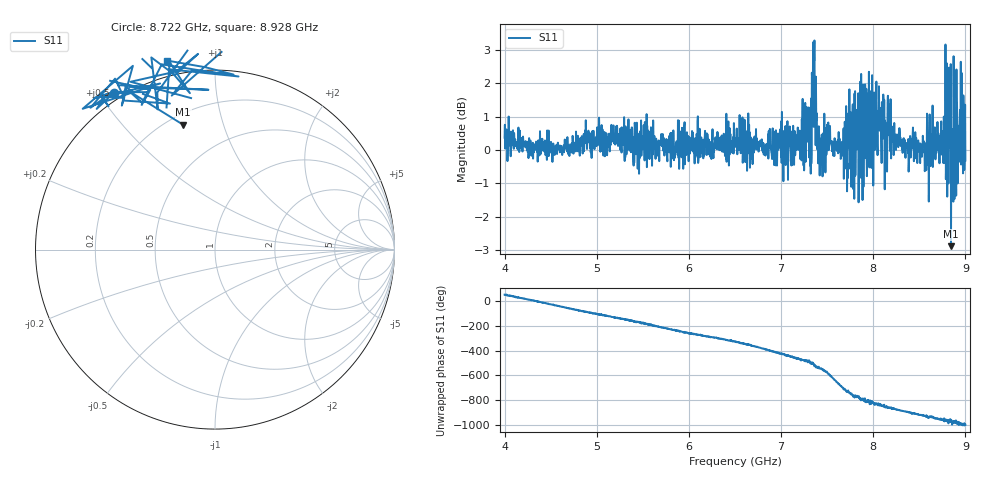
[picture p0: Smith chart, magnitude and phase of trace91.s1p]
! Created with skrf 1.8.0 (http://scikit-rf.org).
# Hz S RI R 50.0
!freq ReS11 ImS11
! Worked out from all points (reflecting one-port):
!   1601 points, 4 GHz to 9 GHz, reference 50 ohm
!   lowest |S11| = -2.9 dB at 8.844 GHz (marker M1), VSWR 6.09, Z = 13 + j37.2 ohm
!   phase of S11 starts at 51 deg and turns -1051 deg over the sweep
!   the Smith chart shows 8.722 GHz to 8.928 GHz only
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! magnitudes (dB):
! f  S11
! 4 GHz  0.4
! 4.625 GHz  -0.2
! 5.25 GHz  0.1
! 5.875 GHz  0.1
! 6.5 GHz  0.2
! 7.125 GHz  0.3
! 7.284 GHz  0.9
! 7.306 GHz  1.2
! 7.359 GHz  2.7
! 7.406 GHz  0.5
! 7.441 GHz  0.5
! 7.522 GHz  0.5
! 7.656 GHz  -0.1
! 7.75 GHz  -0.6
! 7.775 GHz  1.0
! 7.844 GHz  -0.5
! 8.05 GHz  1.2
! 8.375 GHz  0.0
! 8.584 GHz  1.1
! 8.656 GHz  0.3
! 8.794 GHz  0.9
! 8.816 GHz  -1.0
! 8.825 GHz  2.1
! 8.844 GHz  -2.9
! 8.869 GHz  -1.5
! 8.884 GHz  1.0
! 8.959 GHz  2.3
! 9 GHz  -0.3
